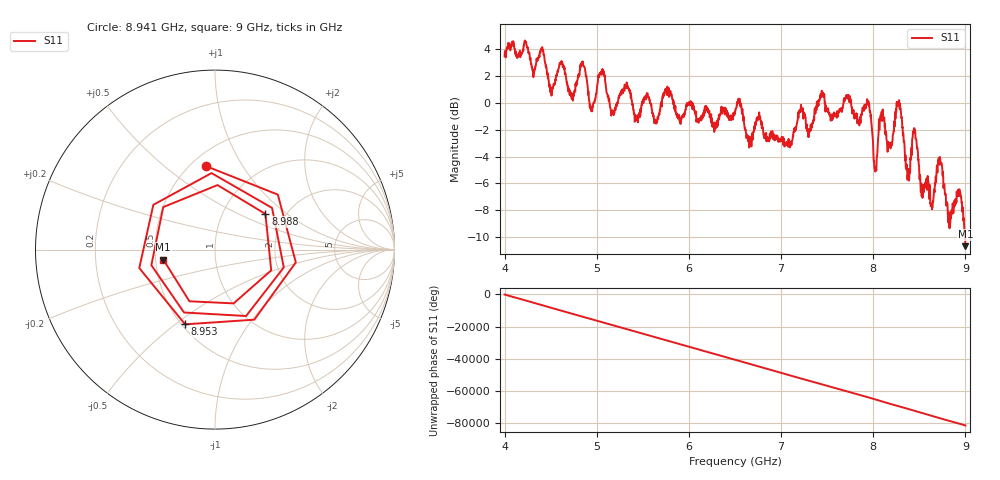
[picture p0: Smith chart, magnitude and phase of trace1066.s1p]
! Created with skrf 1.8.0 (http://scikit-rf.org).
# Hz S RI R 50.0
!freq ReS11 ImS11
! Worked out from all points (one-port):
!   1601 points, 4 GHz to 9 GHz, reference 50 ohm
!   lowest |S11| = -10.7 dB at 9 GHz (marker M1), VSWR 1.83, Z = 27.5 - j3.33 ohm
!   |S11| at or under -10 dB: 8.997527 GHz to end of sweep
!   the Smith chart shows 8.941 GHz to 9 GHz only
!   S11 on the Smith chart (normalised r, x): 8.941 GHz: 0.59, +0.71; 8.953 GHz: 0.52, -0.54; 8.988 GHz: 1.58, +0.71; 9 GHz: 0.55, -0.07
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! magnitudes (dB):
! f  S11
! 4 GHz  3.4
! 4.406 GHz  4.1
! 4.509 GHz  0.5
! 4.625 GHz  2.9
! 4.728 GHz  0.3
! 4.853 GHz  2.7
! 4.941 GHz  -0.6
! 5.053 GHz  2.3
! 5.166 GHz  -0.8
! 5.25 GHz  0.5
! 5.875 GHz  -1.1
! 6.5 GHz  -0.7
! 7.125 GHz  -2.7
! 7.75 GHz  0.1
! 7.95 GHz  0.1
! 8.025 GHz  -4.8
! 8.084 GHz  -1.3
! 8.178 GHz  -3.2
! 8.278 GHz  -0.1
! 8.375 GHz  -5.4
! 8.447 GHz  -2.2
! 8.631 GHz  -7.6
! 8.725 GHz  -4.0
! 8.831 GHz  -8.5
! 8.941 GHz  -6.6
! 8.953 GHz  -7.0
! 8.988 GHz  -9.3
! 9 GHz  -10.7
